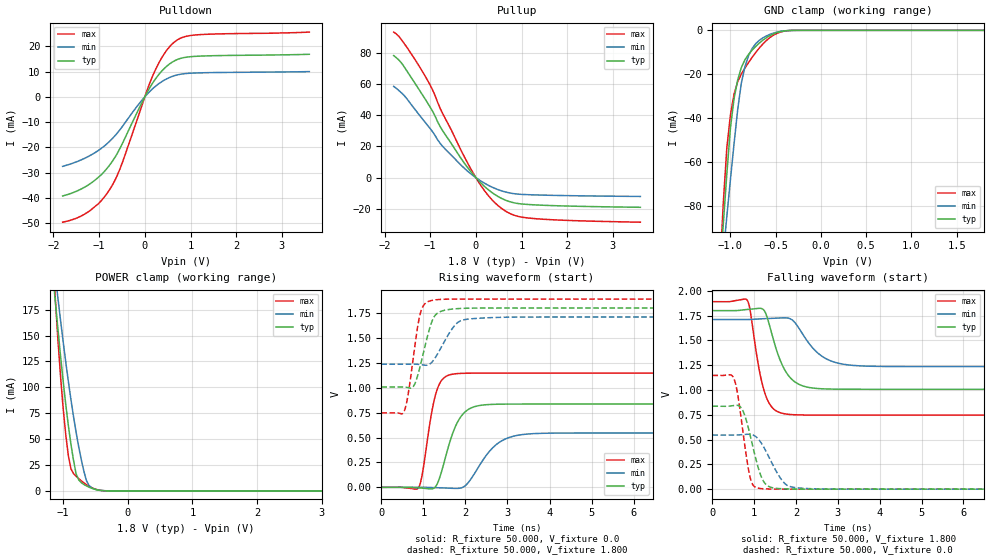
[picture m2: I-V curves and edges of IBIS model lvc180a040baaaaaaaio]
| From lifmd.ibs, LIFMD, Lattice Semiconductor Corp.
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|   Model lvc180a040baaaaaaaio
[Model] lvc180a040baaaaaaaio
Model_type I/O
Polarity   Non-Inverting
Enable   Active-Low
Vinl =  0.630V
Vinh =  1.170V
Vmeas =  0.900V
Cref =  0.0F
Rref =  1.000M
Vref =  0.0V
C_comp   5.000pF   4.000pF   5.500pF
[Temperature Range]   25.000   0.125k   -40.000
[Voltage Range]   1.800V   1.710V   1.890V
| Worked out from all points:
|   slope of the pulldown table from 0 to 0.27 V, typ, clamps not added: 33.9 ohm
|   slope of the pullup table from 0 to 0.27 V, typ, clamps not added: 35.2 ohm
|   GND clamp passes 1 mA (typ) near -0.48 V on its own axis
|   POWER clamp passes 1 mA (typ) near -0.48 V on its own axis
|   rising waveform, R_fixture 50.000, V_fixture 0.0: 20-80 % time 392ps typ, 585ps min, 271ps max; typ from 0 V to 0.836 V
|   rising waveform, R_fixture 50.000, V_fixture 1.800: 20-80 % time 290ps typ, 401ps min, 231ps max; typ from 1.01 V to 1.8 V
|   falling waveform, R_fixture 50.000, V_fixture 1.800: 20-80 % time 412ps typ, 573ps min, 296ps max; typ from 1.8 V to 1.01 V
|   falling waveform, R_fixture 50.000, V_fixture 0.0: 20-80 % time 305ps typ, 420ps min, 231ps max; typ from 0.836 V to 0 V
[Pulldown]
|Voltage   I(typ)   I(min)   I(max)
-1.8V     -39.2mA    -27.5mA    -49.57mA
-1.26V    -35.1mA    -23.79mA   -45.72mA
-1.02V    -31.87mA   -21.25mA   -42.34mA
-780mV    -27.21mA   -17.75mA   -36.94mA
-540mV    -20.22mA   -12.89mA   -28.3mA
-120mV    -4.342mA   -2.613mA   -6.42mA
180mV     5.701mA    3.352mA    8.636mA
420mV     11.12mA    6.543mA    16.9mA
660mV     14.34mA    8.43mA     21.87mA
840mV     15.46mA    9.093mA    23.61mA
1.2V      16.09mA    9.477mA    24.58mA
3.6V      16.82mA    9.969mA    25.6mA
[Pullup]
|Voltage   I(typ)   I(min)   I(max)
-1.8V     78.1mA     58.42mA    93.11mA
-1.68V    75.05mA    55.58mA    90.22mA
-1.5V     67.81mA    50.08mA    83.01mA
-1.08V    48.86mA    34.31mA    63.41mA
-960mV    43.12mA    29.86mA    56.88mA
-720mV    29.69mA    19.77mA    40.59mA
-180mV    6.427mA    4.126mA    9.31mA
180mV     -5.401mA   -3.405mA   -8.013mA
540mV     -12.94mA   -8.212mA   -19.2mA
840mV     -16.12mA   -10.26mA   -24.06mA
1.2V      -17.25mA   -10.94mA   -25.97mA
3.6V      -18.94mA   -12.01mA   -28.48mA
[GND_clamp]
|Voltage   I(typ)   I(min)   I(max)
-1.8V     -588.7mA   -460.2mA   -776.6mA
-1.12V    -113.2mA   -120.2mA   -111.9mA
-1.08V    -88.73mA   -102.2mA   -79.16mA
-1.04V    -65.39mA   -84.72mA   -53.46mA
-1V       -44.34mA   -67.8mA    -38.45mA
-960mV    -31.11mA   -51.56mA   -29mA
-920mV    -22.61mA   -36.09mA   -23.41mA
-880mV    -17mA      -24.08mA   -19.91mA
-800mV    -10.93mA   -11.58mA   -14.64mA
-640mV    -4.438mA   -3.387mA   -6.152mA
-360mV    -108.4uA   -101.9uA   -131.1uA
1.8V      0A         0A         0A
[POWER_clamp]
|Voltage   I(typ)   I(min)   I(max)
-1.8V     714.1mA    632.1mA    1.122A
-1.16V    209.1mA    229.4mA    225.8mA
-1.12V    181.6mA    207.1mA    183.6mA
-1.08V    155.1mA    185.3mA    144.6mA
-1V       105.6mA    143.8mA    79.28mA
-960mV    83.25mA    124.2mA    54.12mA
-880mV    44.99mA    88.06mA    21.21mA
-800mV    16.44mA    56.48mA    14.1mA
-640mV    4.792mA    9.816mA    6.046mA
-560mV    2.546mA    3.061mA    3.181mA
-320mV    52.57uA    91.81uA    52.14uA
3.6V      -18.59uA   -11.5uA    -29.6uA
[Ramp]
| variable   typ   min   max
dV/dt_r   0.502/0.398n   0.327/0.588n   0.688/0.275n
dV/dt_f   0.476/0.412n   0.285/0.578n   0.686/0.301n
R_load = 50.000
[Rising Waveform]
R_fixture= 50.000
V_fixture= 0.0
V_fixture_min= 0.0
V_fixture_max= 0.0
|time   V(typ)   V(min)   V(max)
0s        0V         0V         0V
893ps     -5.807mV   279.4uV    2.343mV
1.292ns   7.969mV    -3.757mV   932.5mV
1.432ns   157.5mV    -5.28mV    1.073V
1.643ns   474mV      -9.08mV    1.131V
1.858ns   688.2mV    -9.315mV   1.143V
2.127ns   795.1mV    81.27mV    1.146V
2.706ns   833.7mV    419.2mV    1.147V
3.346ns   835.9mV    529.2mV    1.147V
10ns      835.9mV    545.6mV    1.147V
[Rising Waveform]
R_fixture= 50.000
V_fixture= 1.800
V_fixture_min= 1.710
V_fixture_max= 1.890
|time   V(typ)   V(min)   V(max)
0s        1.007V     1.236V     746.7mV
543ps     1.007V     1.236V     763.1mV
633ps     1.001V     1.236V     922.7mV
748ps     1.005V     1.236V     1.262V
913ps     1.198V     1.233V     1.721V
1.167ns   1.62V      1.242V     1.873V
1.406ns   1.765V     1.391V     1.886V
1.766ns   1.792V     1.635V     1.89V
2.067ns   1.798V     1.689V     1.89V
10ns      1.8V       1.71V      1.89V
[Falling Waveform]
R_fixture= 50.000
V_fixture= 1.800
V_fixture_min= 1.710
V_fixture_max= 1.890
|time   V(typ)   V(min)   V(max)
0s        1.8V       1.71V      1.89V
832ps     1.812V     1.71V      1.905V
1.243ns   1.798V     1.719V     983.2mV
1.423ns   1.562V     1.722V     826.1mV
1.663ns   1.258V     1.727V     765.5mV
1.903ns   1.106V     1.707V     751.6mV
2.143ns   1.044V     1.573V     748mV
2.612ns   1.012V     1.342V     746.8mV
3.242ns   1.007V     1.253V     746.7mV
10ns      1.007V     1.236V     746.7mV
[Falling Waveform]
R_fixture= 50.000
V_fixture= 0.0
V_fixture_min= 0.0
V_fixture_max= 0.0
|time   V(typ)   V(min)   V(max)
0s        835.9mV    545.6mV    1.147V
522ps     843.8mV    545.3mV    1.106V
602ps     844.8mV    546.6mV    964mV
722ps     796.7mV    550.2mV    605.5mV
892ps     563.3mV    553.3mV    136.9mV
1.082ns   237.4mV    512.3mV    11.2mV
1.333ns   30.97mV    339.4mV    1.971mV
1.693ns   3.658mV    74.06mV    196.9uV
1.973ns   1.052mV    16.19mV    32.28uV
10ns      0V         0V         0V
